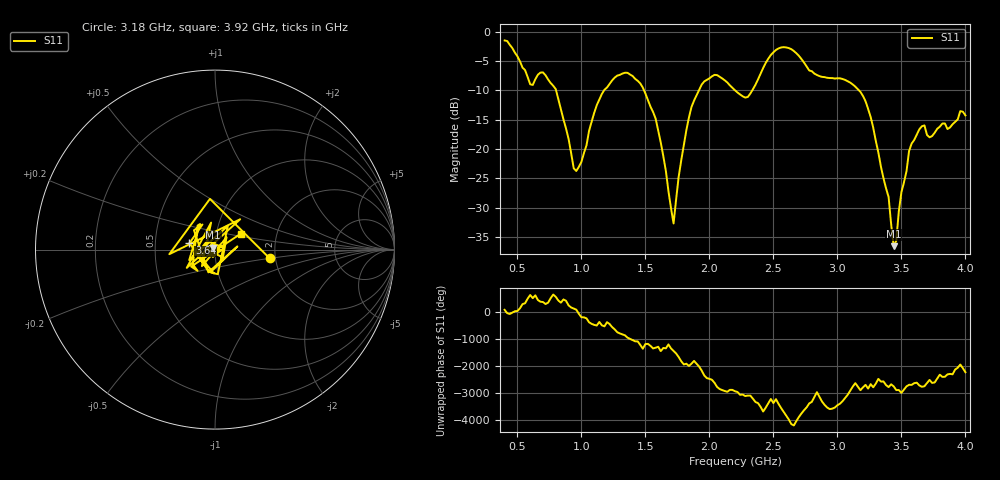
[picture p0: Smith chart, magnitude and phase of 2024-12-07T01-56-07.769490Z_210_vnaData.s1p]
!Created with skrf (http://scikit-rf.org).
# Hz S RI R 50.0
!freq ReS11 ImS11
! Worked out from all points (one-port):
!   181 points, 400 MHz to 4 GHz, reference 50 ohm
!   lowest |S11| = -36.6 dB at 3.44 GHz (marker M1), VSWR 1.03, Z = 49 + j1.11 ohm
!   |S11| at or under -10 dB: 802.4 MHz to 1.176 GHz (374 MHz wide, 37.8 % of centre); 1.49 GHz to 1.917 GHz (427.2 MHz wide, 25.1 % of centre); 3.169 GHz to end of sweep (the widest 3 of 4)
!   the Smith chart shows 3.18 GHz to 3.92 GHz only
!   S11 on the Smith chart (normalised r, x): 3.18 GHz: 1.86, -0.20; 3.64 GHz: 0.75, +0.05; 3.92 GHz: 1.31, +0.24
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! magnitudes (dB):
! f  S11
! 400 MHz  -1.5
! 600 MHz  -8.9
! 720 MHz  -7.4
! 800 MHz  -9.8
! 860 MHz  -15.0
! 960 MHz  -23.7
! 1.14 GHz  -11.5
! 1.3 GHz  -7.3
! 1.46 GHz  -8.8
! 1.58 GHz  -14.8
! 1.72 GHz  -32.7
! 1.76 GHz  -24.7
! 1.86 GHz  -12.8
! 1.94 GHz  -9.0
! 2.06 GHz  -7.4
! 2.2 GHz  -10.0
! 2.3 GHz  -11.1
! 2.5 GHz  -3.5
! 2.66 GHz  -3.3
! 3.1 GHz  -8.6
! 3.18 GHz  -10.2
! 3.26 GHz  -14.5
! 3.4 GHz  -28.2
! 3.44 GHz  -36.6
! 3.56 GHz  -20.3
! 3.64 GHz  -16.6
! 3.92 GHz  -15.3
! 4 GHz  -14.2
